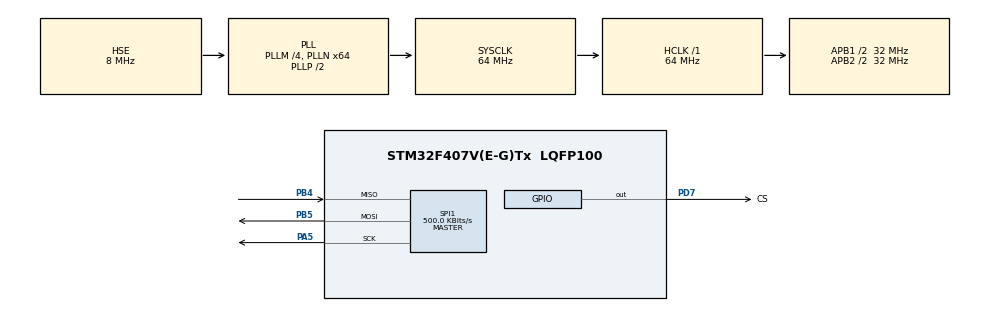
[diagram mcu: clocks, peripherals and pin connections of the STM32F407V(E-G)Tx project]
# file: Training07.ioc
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Mcu.Family=STM32F4
Mcu.Name=STM32F407V(E-G)Tx
Mcu.Package=LQFP100
NVIC.PriorityGroup=NVIC_PRIORITYGROUP_4
PA5.GPIO_PuPd=GPIO_NOPULL
PA5.Mode=Full_Duplex_Master
PA5.Signal=SPI1_SCK
PB4.GPIO_PuPd=GPIO_NOPULL
PB4.Mode=Full_Duplex_Master
PB4.Signal=SPI1_MISO
PB5.Mode=Full_Duplex_Master
PB5.Signal=SPI1_MOSI
PD7.GPIO_Label=CS
PD7.Signal=GPIO_Output
PH0-OSC_IN.Mode=HSE-External-Oscillator
PH0-OSC_IN.Signal=RCC_OSC_IN
PH1-OSC_OUT.Mode=HSE-External-Oscillator
PH1-OSC_OUT.Signal=RCC_OSC_OUT
ProjectManager.HeapSize=0x200
ProjectManager.StackSize=0x400
ProjectManager.TargetToolchain=STM32CubeIDE
RCC.48MHZClocksFreq_Value=32000000
RCC.AHBFreq_Value=64000000
RCC.APB1CLKDivider=RCC_HCLK_DIV2
RCC.APB1Freq_Value=32000000
RCC.APB1TimFreq_Value=64000000
RCC.APB2CLKDivider=RCC_HCLK_DIV2
RCC.APB2Freq_Value=32000000
RCC.APB2TimFreq_Value=64000000
RCC.CortexFreq_Value=64000000
RCC.HCLKFreq_Value=64000000
RCC.HSE_VALUE=8000000
RCC.HSI_VALUE=16000000
RCC.LSE_VALUE=32768
RCC.PLLM=4
RCC.PLLN=64
RCC.PLLSourceVirtual=RCC_PLLSOURCE_HSE
RCC.SYSCLKFreq_VALUE=64000000
RCC.SYSCLKSource=RCC_SYSCLKSOURCE_PLLCLK
RCC.VCOOutputFreq_Value=128000000
SPI1.BaudRatePrescaler=SPI_BAUDRATEPRESCALER_64
SPI1.CLKPolarity=SPI_POLARITY_HIGH
SPI1.CalculateBaudRate=500.0 KBits/s
SPI1.Direction=SPI_DIRECTION_2LINES
SPI1.Mode=SPI_MODE_MASTER
SPI1.VirtualType=VM_MASTER
board=custom

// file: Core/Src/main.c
/* USER CODE BEGIN Header */
/**
  ******************************************************************************
  * @file           : main.c
  * @brief          : Main program body
  ******************************************************************************
  * @attention
  *
  * Copyright (c) 2023 STMicroelectronics.
  * All rights reserved.
  *
  * This software is licensed under terms that can be found in the LICENSE file
  * in the root directory of this software component.
  * If no LICENSE file comes with this software, it is provided AS-IS.
  *
  ******************************************************************************
  */
/* USER CODE END Header */
#include "main.h"

/* USER CODE BEGIN Includes */
#include "SPI_func.h"
/* USER CODE END Includes */

SPI_HandleTypeDef hspi1;

void SystemClock_Config(void);
static void MX_GPIO_Init(void);
static void MX_SPI1_Init(void);

int main(void)
{

  /* MCU Configuration--------------------------------------------------------*/

  /* Reset of all peripherals, Initializes the Flash interface and the Systick. */
  HAL_Init();

  /* Configure the system clock */
  SystemClock_Config();

  /* Initialize all configured peripherals */
  MX_GPIO_Init();
  MX_SPI1_Init();

  /* Infinite loop */
  /* USER CODE BEGIN WHILE */
  HAL_Delay(100);

  // Prepare Transmit and Receive Arrays
  uint8_t ReceiveArray[20][300]  = { 0 };
  const uint8_t TransmitArray[]="From: Aleksey Yabanzhi, fisherman-as@ukr.net\n\r\
Mentor: Artem Dovhal, artem.dovhal@globallogic.com\n\r\
Date: 20.03.2023\n\r\
TIME CAPSULE\n\r\
To be or not to be - Shakespeare\n\r\
The greatest glory in living lies not in never falling, \n\r\
but in rising every time we fall. -Nelson Mandela\n\r\
The way to get started is to quit talking and begin doing. -Walt Disney\n\r\
Your time is limited, so don't waste it living someone else's life. \n\r\
Don't be trapped by dogma, which is living with the results of other people's thinking. -Steve Jobs\n\r\
If life were predictable it would cease to be life, and be without flavor. -Eleanor Roosevelt\n\r\
If you look at what you have in life, you'll always have more. \n\r\
If you look at what you don't have in life, you'll never have enough. -Oprah Winfrey\n\r\
If you set your goals ridiculously high and it's a failure, \n\r\
you will fail above everyone else's success. -James Cameron\n\r\
Life is what happens when you're busy making other plans. -John Lennon\n\r\
So, if you have read this text to this point, you can view my thoughts here.\n\r\
I think we'll prevail. Hope it happens until 13.08.2023. However the more real date is \n\r\
the summer of 2025's. If I'm not in the army yet, you can write me a mail:).\n\r\
I like this courses, they gave me some practice and experience.\n\r";

  EraseChip();
  WriteMyTextToFlash(TransmitArray); //write ReceiveArray into the flash

  while (1)
  {
    ReadSPI_20(20, 300, ReceiveArray); //read data from the flash and write it into ReceiveArray
    HAL_Delay(500);

    /* USER CODE END WHILE */

  }
}

void SystemClock_Config(void)
{
  RCC_OscInitTypeDef RCC_OscInitStruct = {0};
  RCC_ClkInitTypeDef RCC_ClkInitStruct = {0};

  /** Configure the main internal regulator output voltage
  */
  __HAL_RCC_PWR_CLK_ENABLE();
  __HAL_PWR_VOLTAGESCALING_CONFIG(PWR_REGULATOR_VOLTAGE_SCALE1);

  /** Initializes the RCC Oscillators according to the specified parameters
  * in the RCC_OscInitTypeDef structure.
  */
  RCC_OscInitStruct.OscillatorType = RCC_OSCILLATORTYPE_HSE;
  RCC_OscInitStruct.HSEState = RCC_HSE_ON;
  RCC_OscInitStruct.PLL.PLLState = RCC_PLL_ON;
  RCC_OscInitStruct.PLL.PLLSource = RCC_PLLSOURCE_HSE;
  RCC_OscInitStruct.PLL.PLLM = 4;
  RCC_OscInitStruct.PLL.PLLN = 64;
  RCC_OscInitStruct.PLL.PLLP = RCC_PLLP_DIV2;
  RCC_OscInitStruct.PLL.PLLQ = 4;
  if (HAL_RCC_OscConfig(&RCC_OscInitStruct) != HAL_OK)
  {
    Error_Handler();
  }

  /** Initializes the CPU, AHB and APB buses clocks
  */
  RCC_ClkInitStruct.ClockType = RCC_CLOCKTYPE_HCLK|RCC_CLOCKTYPE_SYSCLK
                              |RCC_CLOCKTYPE_PCLK1|RCC_CLOCKTYPE_PCLK2;
  RCC_ClkInitStruct.SYSCLKSource = RCC_SYSCLKSOURCE_PLLCLK;
  RCC_ClkInitStruct.AHBCLKDivider = RCC_SYSCLK_DIV1;
  RCC_ClkInitStruct.APB1CLKDivider = RCC_HCLK_DIV2;
  RCC_ClkInitStruct.APB2CLKDivider = RCC_HCLK_DIV2;

  if (HAL_RCC_ClockConfig(&RCC_ClkInitStruct, FLASH_LATENCY_2) != HAL_OK)
  {
    Error_Handler();
  }
}

static void MX_SPI1_Init(void)
{

  /* SPI1 parameter configuration*/
  hspi1.Instance = SPI1;
  hspi1.Init.Mode = SPI_MODE_MASTER;
  hspi1.Init.Direction = SPI_DIRECTION_2LINES;
  hspi1.Init.DataSize = SPI_DATASIZE_8BIT;
  hspi1.Init.CLKPolarity = SPI_POLARITY_HIGH;
  hspi1.Init.CLKPhase = SPI_PHASE_1EDGE;
  hspi1.Init.NSS = SPI_NSS_SOFT;
  hspi1.Init.BaudRatePrescaler = SPI_BAUDRATEPRESCALER_64;
  hspi1.Init.FirstBit = SPI_FIRSTBIT_MSB;
  hspi1.Init.TIMode = SPI_TIMODE_DISABLE;
  hspi1.Init.CRCCalculation = SPI_CRCCALCULATION_DISABLE;
  hspi1.Init.CRCPolynomial = 10;
  if (HAL_SPI_Init(&hspi1) != HAL_OK)
  {
    Error_Handler();
  }

}

static void MX_GPIO_Init(void)
{
  GPIO_InitTypeDef GPIO_InitStruct = {0};

  /* GPIO Ports Clock Enable */
  __HAL_RCC_GPIOH_CLK_ENABLE();
  __HAL_RCC_GPIOA_CLK_ENABLE();
  __HAL_RCC_GPIOD_CLK_ENABLE();
  __HAL_RCC_GPIOB_CLK_ENABLE();

  /*Configure GPIO pin Output Level */
  HAL_GPIO_WritePin(CS_GPIO_Port, CS_Pin, GPIO_PIN_RESET);

  /*Configure GPIO pin : CS_Pin */
  GPIO_InitStruct.Pin = CS_Pin;
  GPIO_InitStruct.Mode = GPIO_MODE_OUTPUT_PP;
  GPIO_InitStruct.Pull = GPIO_NOPULL;
  GPIO_InitStruct.Speed = GPIO_SPEED_FREQ_LOW;
  HAL_GPIO_Init(CS_GPIO_Port, &GPIO_InitStruct);

}

void Error_Handler(void)
{
  __disable_irq();
  while (1)
  {
  }
}
